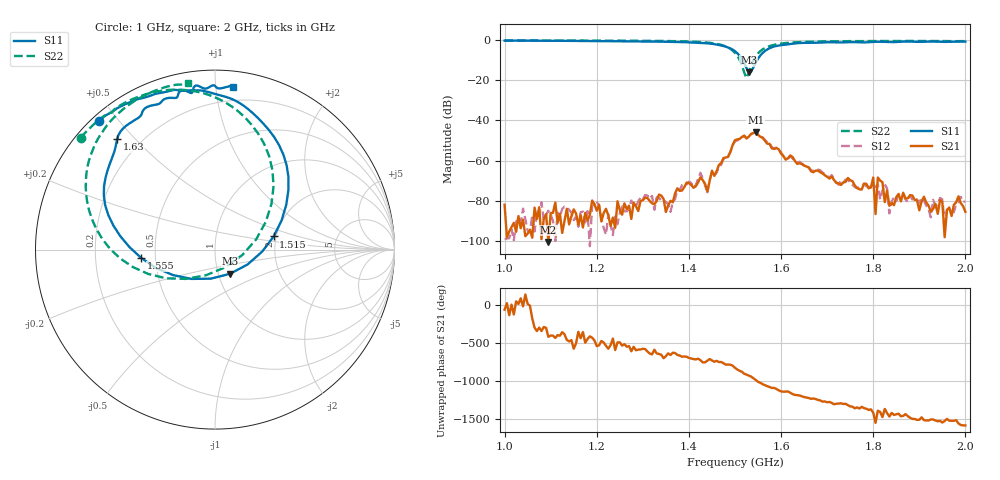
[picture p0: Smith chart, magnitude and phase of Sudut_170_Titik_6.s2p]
# Hz S RI R 50
! CMT, C1220, 16058040, 17.2.0/1
! Date: 14/08/2018 12:22:31
! Data: Format (Calibration Info)
! Freq  S11: Re/Im (F2)  S21: Re/Im (F2)  S12: Re/Im (F2)  S22: Re/Im (F2)
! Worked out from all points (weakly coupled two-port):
!   201 points, 1 GHz to 2 GHz, reference 50 ohm
!   highest |S21| = -45.87 dB at 1.545 GHz (marker M1); lowest = -100.4 dB at 1.095 GHz (marker M2)
!   lowest |S11| = -16.0 dB at 1.53 GHz (marker M3), VSWR 1.38, Z = 56.8 - j15.7 ohm
!   |S11| at or under -10 dB: 1.516 GHz to 1.548 GHz (31.88 MHz wide, 2.08 % of centre)
!   |S22| runs from -18.9 to -0.2 dB; largest |S21 - S12| = 0.00036
!   S11 on the Smith chart (normalised r, x): 1 GHz: 0.02, +0.44; 1.515 GHz: 1.94, +0.32; 1.555 GHz: 0.42, -0.05; 1.63 GHz: 0.12, +0.44; 2 GHz: 0.10, +1.11
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1e9  -0.6453 0.7155  3.83e-05 -7.07e-05  5.63e-06 -9.46e-06  -0.7478 0.6242
1.095e9  -0.5526 0.7825  5.06e-06 -8.08e-06  5.08e-05 -2.59e-05  -0.6789 0.6946
1.17e9  -0.468 0.8236  2.17e-05 1.8e-06  5.11e-05 -1.89e-05  -0.6113 0.7487
1.335e9  -0.2018 0.8879  3.52e-05 0.000139  6.59e-05 0.000101  -0.3961 0.8622
1.425e9  0.0832 0.8432  0.000384 -3.84e-05  0.000487 -0.00012  -0.1156 0.8825
1.44e9  0.1427 0.8132  0.000169 -3.56e-05  0.000151 -3.24e-05  -0.0368 0.8626
1.45e9  0.1856 0.7817  0.000556 -9.5e-05  0.000505 -0.000131  0.025 0.8371
1.5e9  0.4089 0.3309  -0.000912 -0.00311  -0.000875 -0.00291  0.326 0.3505
1.515e9  0.3271 0.0736  -0.00358 -0.00147  -0.00357 -0.00149  0.229 0.0565
1.53e9  0.0835 -0.1349  -0.0035 0.00187  -0.00354 0.00189  -0.0508 -0.143
1.545e9  -0.235 -0.1416  -0.000361 0.00508  -0.000464 0.00498  -0.3711 -0.1359
1.555e9  -0.4108 -0.0469  0.00212 0.00329  0.002 0.00341  -0.5272 -0.0501
1.63e9  -0.5456 0.6143  -0.00021 -0.000965  -0.000163 -0.00098  -0.6856 0.544
1.67e9  -0.4266 0.7343  -0.000445 -0.000262  -0.000459 -0.000301  -0.6176 0.6713
1.775e9  -0.2232 0.8447  -3.34e-05 0.000189  -4.3e-05 0.000241  -0.4545 0.824
1.8e9  -0.2014 0.874  0.000349 0.000152  0.000124 0.000181  -0.4182 0.845
1.805e9  -0.1954 0.8812  -1.61e-05 -4.43e-05  0.000155 0.000158  -0.4111 0.8494
1.81e9  -0.1871 0.8859  0.000247 0.00029  0.000251 -7.31e-05  -0.4045 0.8533
1.815e9  -0.1776 0.8869  0.000266 0.00018  9.71e-05 4.76e-05  -0.3974 0.8567
1.825e9  -0.1548 0.8811  2.78e-05 8.92e-05  0.000248 7.48e-05  -0.3843 0.8631
1.835e9  -0.1356 0.8729  6.7e-05 -3.47e-05  4.88e-05 7.67e-07  -0.371 0.8697
2e9  0.0978 0.9057  -4.36e-05 -3.12e-05  -7.33e-05 -6.31e-05  -0.1485 0.9279
